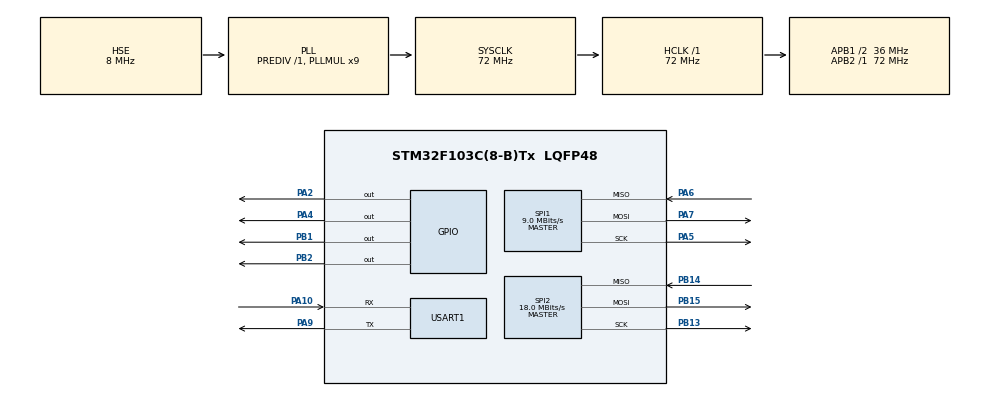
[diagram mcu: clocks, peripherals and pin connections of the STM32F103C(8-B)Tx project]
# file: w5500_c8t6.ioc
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Mcu.Family=STM32F1
Mcu.Name=STM32F103C(8-B)Tx
Mcu.Package=LQFP48
NVIC.PriorityGroup=NVIC_PRIORITYGROUP_4
PA10.Mode=Asynchronous
PA10.Signal=USART1_RX
PA13.Mode=Serial_Wire
PA13.Signal=SYS_JTMS-SWDIO
PA14.Mode=Serial_Wire
PA14.Signal=SYS_JTCK-SWCLK
PA2.Signal=GPIO_Output
PA4.Signal=GPIO_Output
PA5.Mode=Full_Duplex_Master
PA5.Signal=SPI1_SCK
PA6.Mode=Full_Duplex_Master
PA6.Signal=SPI1_MISO
PA7.Mode=Full_Duplex_Master
PA7.Signal=SPI1_MOSI
PA9.Mode=Asynchronous
PA9.Signal=USART1_TX
PB1.Signal=GPIO_Output
PB13.Mode=Full_Duplex_Master
PB13.Signal=SPI2_SCK
PB14.Mode=Full_Duplex_Master
PB14.Signal=SPI2_MISO
PB15.Mode=Full_Duplex_Master
PB15.Signal=SPI2_MOSI
PB2.Signal=GPIO_Output
PC14-OSC32_IN.Mode=LSE-External-Oscillator
PC14-OSC32_IN.Signal=RCC_OSC32_IN
PC15-OSC32_OUT.Mode=LSE-External-Oscillator
PC15-OSC32_OUT.Signal=RCC_OSC32_OUT
PD0-OSC_IN.Mode=HSE-External-Oscillator
PD0-OSC_IN.Signal=RCC_OSC_IN
PD1-OSC_OUT.Mode=HSE-External-Oscillator
PD1-OSC_OUT.Signal=RCC_OSC_OUT
ProjectManager.HeapSize=0x200
ProjectManager.StackSize=0x400
ProjectManager.TargetToolchain=STM32CubeIDE
RCC.AHBFreq_Value=72000000
RCC.APB1CLKDivider=RCC_HCLK_DIV2
RCC.APB1Freq_Value=36000000
RCC.APB1TimFreq_Value=72000000
RCC.APB2Freq_Value=72000000
RCC.APB2TimFreq_Value=72000000
RCC.HCLKFreq_Value=72000000
RCC.PLLMUL=RCC_PLL_MUL9
RCC.PLLSourceVirtual=RCC_PLLSOURCE_HSE
RCC.SYSCLKFreq_VALUE=72000000
RCC.SYSCLKSource=RCC_SYSCLKSOURCE_PLLCLK
RCC.USBFreq_Value=72000000
SPI1.BaudRatePrescaler=SPI_BAUDRATEPRESCALER_8
SPI1.CalculateBaudRate=9.0 MBits/s
SPI1.Direction=SPI_DIRECTION_2LINES
SPI1.Mode=SPI_MODE_MASTER
SPI1.VirtualType=VM_MASTER
SPI2.CalculateBaudRate=18.0 MBits/s
SPI2.Direction=SPI_DIRECTION_2LINES
SPI2.Mode=SPI_MODE_MASTER
SPI2.VirtualType=VM_MASTER
USART1.VirtualMode=VM_ASYNC
VP_CRC_VS_CRC.Mode=CRC_Activate
board=custom

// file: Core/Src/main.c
/* USER CODE BEGIN Header */
/**
  ******************************************************************************
  * @file           : main.c
  * @brief          : Main program body
  ******************************************************************************
  * @attention
  *
  * Copyright (c) 2026 STMicroelectronics.
  * All rights reserved.
  *
  * This software is licensed under terms that can be found in the LICENSE file
  * in the root directory of this software component.
  * If no LICENSE file comes with this software, it is provided AS-IS.
  *
  ******************************************************************************
  */
/* USER CODE END Header */
#include "main.h"
#include "crc.h"
#include "spi.h"
#include "usart.h"
#include "gpio.h"

/* USER CODE BEGIN Includes */
#include <string.h>
#include <stdbool.h>
#include <stdio.h>

#include "socket.h"
#include "dhcp.h"
#include "httpServer.h"
#include "W25Qxx.h"
#include "html_pages.h"
/* USER CODE END Includes */

/* USER CODE BEGIN PD */
#define DHCP_SOCKET     0
#define DNS_SOCKET      1
#define HTTP_SOCKET     2
#define SOCK_TCPS       0
#define SOCK_UDPS       1
#define PORT_TCPS       5000
#define PORT_UDPS       3000
#define MAX_HTTPSOCK    6

#define _DHCP_DEBUG_
/* USER CODE END PD */

/* USER CODE BEGIN PV */
uint8_t socknumlist[] = {2, 3, 4, 5, 6, 7};
uint8_t RX_BUF[1024];
uint8_t TX_BUF[1024];
wiz_NetInfo net_info = {
    .mac  = { 0xDE, 0xAD, 0xBE, 0xEF, 0xFE, 0xED },
    .dhcp = NETINFO_DHCP
};
/* USER CODE END PV */

void SystemClock_Config(void);
/* USER CODE BEGIN PFP */
int cek_LAN(){
	uint8_t tmp;
	ctlwizchip(CW_GET_PHYLINK, (void*) &tmp);
	if(tmp == PHY_LINK_OFF) {
		return -1;
	}else{
		return 0;
	}
}

void wizchipSelect(void) {
    HAL_GPIO_WritePin(GPIOB, GPIO_PIN_1, GPIO_PIN_RESET);
//    LL_GPIO_ResetOutputPin (GPIOB, LL_GPIO_PIN_1);
}

void wizchipUnselect(void) {
    HAL_GPIO_WritePin(GPIOB, GPIO_PIN_1, GPIO_PIN_SET);
//    LL_GPIO_SetOutputPin(GPIOB, LL_GPIO_PIN_1);

}

void wizchipReadBurst(uint8_t* buff, uint16_t len) {
    HAL_SPI_Receive(&hspi2, buff, len, HAL_MAX_DELAY);
}

void wizchipWriteBurst(uint8_t* buff, uint16_t len) {
    HAL_SPI_Transmit(&hspi2, buff, len, HAL_MAX_DELAY);
}

uint8_t wizchipReadByte(void) {
    uint8_t byte;
    wizchipReadBurst(&byte, sizeof(byte));
    return byte;
}

void wizchipWriteByte(uint8_t byte) {
    wizchipWriteBurst(&byte, sizeof(byte));
}

volatile bool ip_assigned = false;

void Callback_IPAssigned(void) {
    ip_assigned = true;
}

void Callback_IPConflict(void) {
    ip_assigned = false;
}

uint8_t dhcp_buffer[1024];
uint8_t dns_buffer[1024];

void W5500Init() {
//	LL_GPIO_ResetOutputPin(GPIOA, LL_GPIO_PIN_2);
	HAL_GPIO_WritePin(GPIOA, GPIO_PIN_2, GPIO_PIN_RESET);
	HAL_Delay(10);
	HAL_GPIO_WritePin(GPIOA, GPIO_PIN_2, GPIO_PIN_SET);
//	LL_GPIO_SetOutputPin(GPIOA, LL_GPIO_PIN_2);
	HAL_Delay(2500);
    // Register W5500 callbacks
    reg_wizchip_cs_cbfunc(wizchipSelect, wizchipUnselect);
    reg_wizchip_spi_cbfunc(wizchipReadByte, wizchipWriteByte);
    reg_wizchip_spiburst_cbfunc(wizchipReadBurst, wizchipWriteBurst);

    uint8_t rx_tx_buff_sizes[] = {2, 2, 2, 2, 2, 2, 2, 2};
    wizchip_init(rx_tx_buff_sizes, rx_tx_buff_sizes);

    // set MAC address before using DHCP
    setSHAR(net_info.mac);
    DHCP_init(DHCP_SOCKET, dhcp_buffer);

    reg_dhcp_cbfunc(
        Callback_IPAssigned,
        Callback_IPAssigned,
        Callback_IPConflict
    );
    int a = cek_LAN();
    printf("sini...%i\n", a);
    uint32_t ctr = 1000;
    while((!ip_assigned) && (ctr > 0)) {
        DHCP_run();
        ctr--;
    }

    if(!ip_assigned) {

        return;
        NVIC_SystemReset();
    }

    getIPfromDHCP(net_info.ip);
    getGWfromDHCP(net_info.gw);
    getSNfromDHCP(net_info.sn);

    char charData[200]; // Data holder
    sprintf(charData,"IP:  %d.%d.%d.%d\r\nGW:  %d.%d.%d.%d\r\nNet: %d.%d.%d.%d\r\n",
        net_info.ip[0], net_info.ip[1], net_info.ip[2], net_info.ip[3],
        net_info.gw[0], net_info.gw[1], net_info.gw[2], net_info.gw[3],
        net_info.sn[0], net_info.sn[1], net_info.sn[2], net_info.sn[3]
    );
    HAL_UART_Transmit(&huart1,(uint8_t *)charData,strlen(charData),1000);

    wizchip_setnetinfo(&net_info);

}
/* USER CODE END PFP */

int main(void)
{

  /* MCU Configuration--------------------------------------------------------*/

  /* Reset of all peripherals, Initializes the Flash interface and the Systick. */
  HAL_Init();

  /* Configure the system clock */
  SystemClock_Config();

  /* Initialize all configured peripherals */
  MX_GPIO_Init();
  MX_SPI2_Init();
  MX_USART1_UART_Init();
  MX_SPI1_Init();
  MX_CRC_Init();
  /* USER CODE BEGIN 2 */
  printf("mulai..\n");
  W25Q_Reset();
  printf("sampai sini..\n");
	uint32_t ID = W25Q_ReadID();

	if (ID) {
		printf("masuk.. 0x%08X\n", ID);
	}
  W5500Init();
	httpServer_init(TX_BUF, RX_BUF, MAX_HTTPSOCK, socknumlist);
	reg_httpServer_cbfunc(NVIC_SystemReset, NULL);
	reg_httpServer_webContent((uint8_t*) "index.html", (uint8_t*) upload_page);
	reg_httpServer_flashContent((uint8_t*) "upload.html",	0x001000);
//	reg_httpServer_flashContent((uint8_t*) "test.html",		0x022000);
  /* USER CODE END 2 */

  /* Infinite loop */
  /* USER CODE BEGIN WHILE */
  while (1)
  {
	  for(int i = 0; i < MAX_HTTPSOCK; i++) httpServer_run(i); // HTTP Server handler
	  static uint32_t lsRn = 0;
	  uint32_t tmr = HAL_GetTick();
	  if((tmr-lsRn)>500){
		  lsRn = tmr;
		  HAL_GPIO_TogglePin(GPIOB, GPIO_PIN_2);
	  }
//	  printf("hallo..\n");
    /* USER CODE END WHILE */

  }
}

void SystemClock_Config(void)
{
  RCC_OscInitTypeDef RCC_OscInitStruct = {0};
  RCC_ClkInitTypeDef RCC_ClkInitStruct = {0};

  /** Initializes the RCC Oscillators according to the specified parameters
  * in the RCC_OscInitTypeDef structure.
  */
  RCC_OscInitStruct.OscillatorType = RCC_OSCILLATORTYPE_HSE;
  RCC_OscInitStruct.HSEState = RCC_HSE_ON;
  RCC_OscInitStruct.HSEPredivValue = RCC_HSE_PREDIV_DIV1;
  RCC_OscInitStruct.HSIState = RCC_HSI_ON;
  RCC_OscInitStruct.PLL.PLLState = RCC_PLL_ON;
  RCC_OscInitStruct.PLL.PLLSource = RCC_PLLSOURCE_HSE;
  RCC_OscInitStruct.PLL.PLLMUL = RCC_PLL_MUL9;
  if (HAL_RCC_OscConfig(&RCC_OscInitStruct) != HAL_OK)
  {
    Error_Handler();
  }

  /** Initializes the CPU, AHB and APB buses clocks
  */
  RCC_ClkInitStruct.ClockType = RCC_CLOCKTYPE_HCLK|RCC_CLOCKTYPE_SYSCLK
                              |RCC_CLOCKTYPE_PCLK1|RCC_CLOCKTYPE_PCLK2;
  RCC_ClkInitStruct.SYSCLKSource = RCC_SYSCLKSOURCE_PLLCLK;
  RCC_ClkInitStruct.AHBCLKDivider = RCC_SYSCLK_DIV1;
  RCC_ClkInitStruct.APB1CLKDivider = RCC_HCLK_DIV2;
  RCC_ClkInitStruct.APB2CLKDivider = RCC_HCLK_DIV1;

  if (HAL_RCC_ClockConfig(&RCC_ClkInitStruct, FLASH_LATENCY_2) != HAL_OK)
  {
    Error_Handler();
  }
}

/* USER CODE BEGIN 4 */
void UWriteData(const char data)
{
	while(__HAL_UART_GET_FLAG(&huart1,UART_FLAG_TXE)==RESET);

	huart1.Instance->DR=data;

}

int __io_putchar(int ch)
{
	UWriteData(ch);
	return ch;
}
/* USER CODE END 4 */

void Error_Handler(void)
{
  __disable_irq();
  while (1)
  {
  }
}
